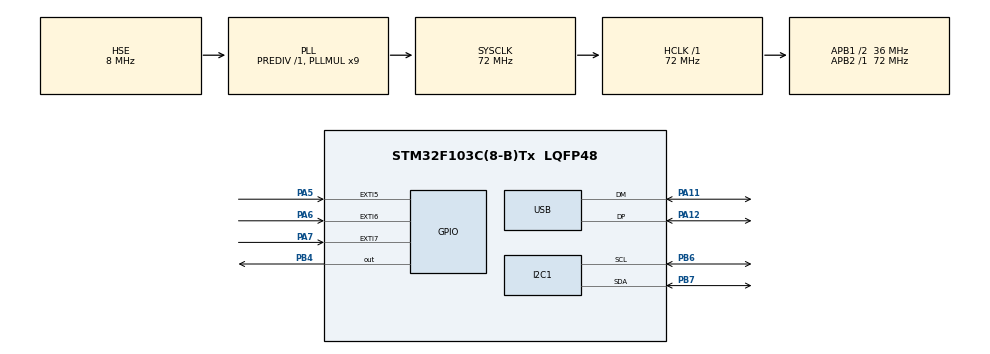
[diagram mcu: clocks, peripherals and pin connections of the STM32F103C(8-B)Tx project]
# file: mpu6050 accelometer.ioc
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Mcu.Family=STM32F1
Mcu.Name=STM32F103C(8-B)Tx
Mcu.Package=LQFP48
NVIC.EXTI9_5_IRQn=true\:0\:0\:false\:false\:true\:true\:true
NVIC.PriorityGroup=NVIC_PRIORITYGROUP_4
NVIC.USB_LP_CAN1_RX0_IRQn=true\:0\:0\:false\:false\:true\:false\:true
PA11.Mode=Device
PA11.Signal=USB_DM
PA12.Mode=Device
PA12.Signal=USB_DP
PA13.Mode=Serial_Wire
PA13.Signal=SYS_JTMS-SWDIO
PA14.Mode=Serial_Wire
PA14.Signal=SYS_JTCK-SWCLK
PA5.GPIO_ModeDefaultEXTI=GPIO_MODE_IT_FALLING
PA5.GPIO_PuPd=GPIO_PULLDOWN
PA5.Signal=GPXTI5
PA6.GPIO_ModeDefaultEXTI=GPIO_MODE_IT_FALLING
PA6.GPIO_PuPd=GPIO_PULLDOWN
PA6.Signal=GPXTI6
PA7.GPIO_ModeDefaultEXTI=GPIO_MODE_IT_FALLING
PA7.GPIO_PuPd=GPIO_PULLDOWN
PA7.Signal=GPXTI7
PB4.PinState=GPIO_PIN_SET
PB4.Signal=GPIO_Output
PB6.Mode=I2C
PB6.Signal=I2C1_SCL
PB7.Mode=I2C
PB7.Signal=I2C1_SDA
PD0-OSC_IN.Mode=HSE-External-Oscillator
PD0-OSC_IN.Signal=RCC_OSC_IN
PD1-OSC_OUT.Mode=HSE-External-Oscillator
PD1-OSC_OUT.Signal=RCC_OSC_OUT
ProjectManager.HeapSize=0x200
ProjectManager.StackSize=0x400
ProjectManager.TargetToolchain=STM32CubeIDE
RCC.AHBFreq_Value=72000000
RCC.APB1CLKDivider=RCC_HCLK_DIV2
RCC.APB1Freq_Value=36000000
RCC.APB1TimFreq_Value=72000000
RCC.APB2Freq_Value=72000000
RCC.APB2TimFreq_Value=72000000
RCC.HCLKFreq_Value=72000000
RCC.PLLMUL=RCC_PLL_MUL9
RCC.SYSCLKFreq_VALUE=72000000
RCC.SYSCLKSource=RCC_SYSCLKSOURCE_PLLCLK
RCC.USBFreq_Value=48000000
RCC.USBPrescaler=RCC_USBCLKSOURCE_PLL_DIV1_5
USB_DEVICE.CLASS_NAME_FS=HID
USB_DEVICE.VirtualMode=Hid
USB_DEVICE.VirtualModeFS=Hid_FS
VP_USB_DEVICE_VS_USB_DEVICE_HID_FS.Mode=HID_FS
board=custom

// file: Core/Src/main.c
/* USER CODE BEGIN Header */
/**
  ******************************************************************************
  * @file           : main.c
  * @brief          : Main program body
  ******************************************************************************
  * @attention
  *
  * <h2><center>&copy; Copyright (c) 2021 STMicroelectronics.
  * All rights reserved.</center></h2>
  *
  * This software component is licensed by ST under BSD 3-Clause license,
  * the "License"; You may not use this file except in compliance with the
  * License. You may obtain a copy of the License at:
  *                        opensource.org/licenses/BSD-3-Clause
  *
  ******************************************************************************
  */
/* USER CODE END Header */
#include "main.h"
#include "usb_device.h"

/* USER CODE BEGIN Includes */
#include "usbd_hid.h"
/* USER CODE END Includes */

I2C_HandleTypeDef hi2c1;

void SystemClock_Config(void);
static void MX_GPIO_Init(void);
static void MX_I2C1_Init(void);

/* USER CODE BEGIN 0 */

uint8_t button_flag=0;

/********************* USB MOUSE RELATED ************************/
extern USBD_HandleTypeDef hUsbDeviceFS;

typedef struct
{
	uint8_t button;
	int8_t mouse_x;
	int8_t mouse_y;
	int8_t wheel;
} mouseHID;

mouseHID mousehid = {0,0,0,0};

/*****************************************************************/

#define MPU6050_ADDR 0xD0

#define SMPLRT_DIV_REG 0x19
#define GYRO_CONFIG_REG 0x1B
#define ACCEL_CONFIG_REG 0x1C
#define ACCEL_XOUT_H_REG 0x3B
#define TEMP_OUT_H_REG 0x41
#define GYRO_XOUT_H_REG 0x43
#define PWR_MGMT_1_REG 0x6B
#define WHO_AM_I_REG 0x75

int buttonstate = 0;
int right_click = 0;
int thirdbutton = 0;
int oldbuttonstate = 0;
int oldright_click = 0;
int oldthird_button = 0;
int divider[] ={ 128, 192, 256, 384, 512, 768, 1024};
int divider_level = 4;
int accumulate = 0;

int16_t Accel_X_RAW = 0;
int16_t Accel_Y_RAW = 0;
int16_t Accel_Z_RAW = 0;

int16_t Gyro_X_RAW = 0;
int16_t Gyro_Y_RAW = 0;
int16_t Gyro_Z_RAW = 0;

float Ax, Ay, Az, Gx, Gy, Gz;

void MPU6050_Init (void)
{
	uint8_t check;
	uint8_t Data;

	// check device ID WHO_AM_I

	HAL_I2C_Mem_Read (&hi2c1, MPU6050_ADDR,WHO_AM_I_REG,1, &check, 1, 1000);

	if (check == 104)  // 0x68 will be returned by the sensor if everything goes well
	{
		// power management register 0X6B we should write all 0's to wake the sensor up
		Data = 0;
		HAL_I2C_Mem_Write(&hi2c1, MPU6050_ADDR, PWR_MGMT_1_REG, 1,&Data, 1, 1000);

		// Set DATA RATE of 1KHz by writing SMPLRT_DIV register
		Data = 0x07;
		HAL_I2C_Mem_Write(&hi2c1, MPU6050_ADDR, SMPLRT_DIV_REG, 1, &Data, 1, 1000);

		// Set accelerometer configuration in ACCEL_CONFIG Register
		// XA_ST=0,YA_ST=0,ZA_ST=0, FS_SEL=0 -> � 2g
		Data = 0x00;
		HAL_I2C_Mem_Write(&hi2c1, MPU6050_ADDR, ACCEL_CONFIG_REG, 1, &Data, 1, 1000);

		// Set Gyroscopic configuration in GYRO_CONFIG Register
		// XG_ST=0,YG_ST=0,ZG_ST=0, FS_SEL=0 -> � 250 �/s
		Data = 0x00;
		HAL_I2C_Mem_Write(&hi2c1, MPU6050_ADDR, GYRO_CONFIG_REG, 1, &Data, 1, 1000);
	}

}

void MPU6050_Read_Accel (void)
{
	uint8_t Rec_Data[6];

	// Read 6 BYTES of data starting from ACCEL_XOUT_H register

	HAL_I2C_Mem_Read (&hi2c1, MPU6050_ADDR, ACCEL_XOUT_H_REG, 1, Rec_Data, 6, 1000);

	Accel_X_RAW = (int16_t)(Rec_Data[0] << 8 | Rec_Data [1]);
	Accel_Y_RAW = (int16_t)(Rec_Data[2] << 8 | Rec_Data [3]);
	Accel_Z_RAW = (int16_t)(Rec_Data[4] << 8 | Rec_Data [5]);

	/*** convert the RAW values into acceleration in 'g'
	     we have to divide according to the Full scale value set in FS_SEL
	     I have configured FS_SEL = 0. So I am dividing by 16384.0
	     for more details check ACCEL_CONFIG Register              ****/

	Ax = Accel_X_RAW*9.8/16384.0;
	Ay = Accel_Y_RAW*9.8/16384.0;
	Az = Accel_Z_RAW*9.8/16384.0;
}

void MPU6050_Read_Gyro (void)
{
	uint8_t Rec_Data[6];

	// Read 6 BYTES of data starting from GYRO_XOUT_H register

	HAL_I2C_Mem_Read (&hi2c1, MPU6050_ADDR, GYRO_XOUT_H_REG, 1, Rec_Data, 6, 1000);

	Gyro_X_RAW = (int16_t)(Rec_Data[0] << 8 | Rec_Data [1]);
	Gyro_Y_RAW = (int16_t)(Rec_Data[2] << 8 | Rec_Data [3]);
	Gyro_Z_RAW = (int16_t)(Rec_Data[4] << 8 | Rec_Data [5]);

	/*** convert the RAW values into dps (�/s)
	     we have to divide according to the Full scale value set in FS_SEL
	     I have configured FS_SEL = 0. So I am dividing by 131.0
	     for more details check GYRO_CONFIG Register              ****/
	Gx = (Gyro_X_RAW + 100)/divider[divider_level];
	Gy = Gyro_Y_RAW	/		divider[divider_level];
	Gz = (Gyro_Z_RAW + 100)/divider[divider_level];
}

/********************* EXTI RELATED ************************/
/*void HAL_GPIO_EXTI_Callback(uint16_t GPIO_Pin)
{
	if (GPIO_Pin == GPIO_PIN_7)
	{
		button_flag = 1;
	}
}*/

/* USER CODE END 0 */

int main(void)
{

  /* MCU Configuration--------------------------------------------------------*/

  /* Reset of all peripherals, Initializes the Flash interface and the Systick. */
  HAL_Init();

  /* Configure the system clock */
  SystemClock_Config();

  /* Initialize all configured peripherals */
  MX_GPIO_Init();
  HAL_Delay (1000);//to solve the reset issue
  MX_I2C1_Init();
  HAL_Delay (100);//to solve the reset issue
  MX_USB_DEVICE_Init();
  /* USER CODE BEGIN 2 */
  HAL_Delay (100);//to solve the reset issue
  MPU6050_Init();

  /* USER CODE END 2 */

  /* Infinite loop */
  while (1)
  {

    /* USER CODE BEGIN 3 */
	MPU6050_Read_Accel();
	MPU6050_Read_Gyro();

	mousehid.mouse_y = -Gz;
	mousehid.mouse_x = Gy;

	buttonstate = HAL_GPIO_ReadPin(GPIOA, GPIO_PIN_5);
	right_click = HAL_GPIO_ReadPin(GPIOA, GPIO_PIN_6);
	thirdbutton = HAL_GPIO_ReadPin(GPIOA, GPIO_PIN_7);

	if (buttonstate != oldbuttonstate )
	{
	  mousehid.button = buttonstate;  // left click =1, right click =2
	  USBD_HID_SendReport(&hUsbDeviceFS, &mousehid, sizeof (mousehid));
	  oldbuttonstate = buttonstate;
	}else if(right_click != oldright_click){
		if(right_click ==1){
			mousehid.button = 2;
		}else{
			mousehid.button = 0;
		}
		USBD_HID_SendReport(&hUsbDeviceFS, &mousehid, sizeof (mousehid));
		oldright_click =right_click;
	}else if(thirdbutton){

		HAL_Delay (300);  // wait for a while
		thirdbutton = HAL_GPIO_ReadPin(GPIOA, GPIO_PIN_7);
		if(thirdbutton){// if it is still pressed it means scroll if not it means just change sensitivity.
			mousehid.button = 0;
			mousehid.mouse_x = 0;
			mousehid.mouse_y = 0;
			while(thirdbutton){
				if(Accel_Z_RAW < 128 || Accel_Z_RAW > -128 ){
					accumulate = 0;
				}
				accumulate = accumulate + Accel_Z_RAW / 256;
				if (accumulate > 20){
					mousehid.wheel = 1;
					accumulate = 0;
					USBD_HID_SendReport(&hUsbDeviceFS, &mousehid, sizeof (mousehid));
				}else if(accumulate < -16){
					mousehid.wheel = -1;
					accumulate = 0;
					USBD_HID_SendReport(&hUsbDeviceFS, &mousehid, sizeof (mousehid));
				}
				thirdbutton = HAL_GPIO_ReadPin(GPIOA, GPIO_PIN_7);
				MPU6050_Read_Accel();
				HAL_Delay(50);
			}
			mousehid.wheel = 0;
		}else{
			divider_level = divider_level + 1;
			if(divider_level == 7){
				divider_level= 0;
			}
		}
	}else{
		USBD_HID_SendReport(&hUsbDeviceFS, &mousehid, sizeof (mousehid));
	}

	HAL_Delay (10);  // wait for a while
  }
  /* USER CODE END 3 */
}

void SystemClock_Config(void)
{
  RCC_OscInitTypeDef RCC_OscInitStruct = {0};
  RCC_ClkInitTypeDef RCC_ClkInitStruct = {0};
  RCC_PeriphCLKInitTypeDef PeriphClkInit = {0};

  /** Initializes the RCC Oscillators according to the specified parameters
  * in the RCC_OscInitTypeDef structure.
  */
  RCC_OscInitStruct.OscillatorType = RCC_OSCILLATORTYPE_HSE;
  RCC_OscInitStruct.HSEState = RCC_HSE_ON;
  RCC_OscInitStruct.HSEPredivValue = RCC_HSE_PREDIV_DIV1;
  RCC_OscInitStruct.HSIState = RCC_HSI_ON;
  RCC_OscInitStruct.PLL.PLLState = RCC_PLL_ON;
  RCC_OscInitStruct.PLL.PLLSource = RCC_PLLSOURCE_HSE;
  RCC_OscInitStruct.PLL.PLLMUL = RCC_PLL_MUL9;
  if (HAL_RCC_OscConfig(&RCC_OscInitStruct) != HAL_OK)
  {
    Error_Handler();
  }
  /** Initializes the CPU, AHB and APB buses clocks
  */
  RCC_ClkInitStruct.ClockType = RCC_CLOCKTYPE_HCLK|RCC_CLOCKTYPE_SYSCLK
                              |RCC_CLOCKTYPE_PCLK1|RCC_CLOCKTYPE_PCLK2;
  RCC_ClkInitStruct.SYSCLKSource = RCC_SYSCLKSOURCE_PLLCLK;
  RCC_ClkInitStruct.AHBCLKDivider = RCC_SYSCLK_DIV1;
  RCC_ClkInitStruct.APB1CLKDivider = RCC_HCLK_DIV2;
  RCC_ClkInitStruct.APB2CLKDivider = RCC_HCLK_DIV1;

  if (HAL_RCC_ClockConfig(&RCC_ClkInitStruct, FLASH_LATENCY_2) != HAL_OK)
  {
    Error_Handler();
  }
  PeriphClkInit.PeriphClockSelection = RCC_PERIPHCLK_USB;
  PeriphClkInit.UsbClockSelection = RCC_USBCLKSOURCE_PLL_DIV1_5;
  if (HAL_RCCEx_PeriphCLKConfig(&PeriphClkInit) != HAL_OK)
  {
    Error_Handler();
  }
}

static void MX_I2C1_Init(void)
{

  hi2c1.Instance = I2C1;
  hi2c1.Init.ClockSpeed = 100000;
  hi2c1.Init.DutyCycle = I2C_DUTYCYCLE_2;
  hi2c1.Init.OwnAddress1 = 0;
  hi2c1.Init.AddressingMode = I2C_ADDRESSINGMODE_7BIT;
  hi2c1.Init.DualAddressMode = I2C_DUALADDRESS_DISABLE;
  hi2c1.Init.OwnAddress2 = 0;
  hi2c1.Init.GeneralCallMode = I2C_GENERALCALL_DISABLE;
  hi2c1.Init.NoStretchMode = I2C_NOSTRETCH_DISABLE;
  if (HAL_I2C_Init(&hi2c1) != HAL_OK)
  {
    Error_Handler();
  }

}

static void MX_GPIO_Init(void)
{
  GPIO_InitTypeDef GPIO_InitStruct = {0};

  /* GPIO Ports Clock Enable */
  __HAL_RCC_GPIOD_CLK_ENABLE();
  __HAL_RCC_GPIOA_CLK_ENABLE();
  __HAL_RCC_GPIOB_CLK_ENABLE();

  /*Configure GPIO pin Output Level */
  HAL_GPIO_WritePin(GPIOB, GPIO_PIN_4, GPIO_PIN_SET);

  /*Configure GPIO pins : PA5 PA6 PA7 */
  GPIO_InitStruct.Pin = GPIO_PIN_5|GPIO_PIN_6|GPIO_PIN_7;
  GPIO_InitStruct.Mode = GPIO_MODE_IT_FALLING;
  GPIO_InitStruct.Pull = GPIO_PULLDOWN;
  HAL_GPIO_Init(GPIOA, &GPIO_InitStruct);

  /*Configure GPIO pin : PB4 */
  GPIO_InitStruct.Pin = GPIO_PIN_4;
  GPIO_InitStruct.Mode = GPIO_MODE_OUTPUT_PP;
  GPIO_InitStruct.Pull = GPIO_NOPULL;
  GPIO_InitStruct.Speed = GPIO_SPEED_FREQ_LOW;
  HAL_GPIO_Init(GPIOB, &GPIO_InitStruct);

  /* EXTI interrupt init*/
  HAL_NVIC_SetPriority(EXTI9_5_IRQn, 0, 0);
  HAL_NVIC_EnableIRQ(EXTI9_5_IRQn);

}

void Error_Handler(void)
{
  __disable_irq();
  while (1)
  {
  }
}
